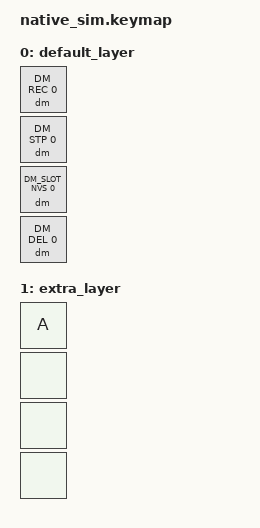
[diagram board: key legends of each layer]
/*
 * Copyright (c) 2026 The ZMK Contributors
 * SPDX-License-Identifier: MIT
 *
 * Test: Record macro, save, then delete it.
 *
 * Sequence:
 * 1. Record A, save to slot 0
 * 2. Play slot 0 (should work)
 * 3. Press DEL to enter delete mode
 * 4. Press slot 0 to delete
 * 5. Play slot 0 again (should be empty)
 *
 * Expected: First playback works, second fails (empty)
 */

#include "../behavior_keymap.dtsi"

/ {
    keymap {
        compatible = "zmk,keymap";
        default_layer {
            bindings = <
                &dm DM_REC 0        /* 0,0 */
                &dm DM_STP 0        /* 0,1 */
                &dm DM_SLOT_NVS 0   /* 1,0 */
                &dm DM_DEL 0        /* 1,1 */
            >;
        };
        extra_layer {
            bindings = <
                &kp A &none
                &none &none
            >;
        };
    };
};

&kscan {
    events = <
        /* Record: use behavior queue to record A via slot command */
        /* Start recording */
        ZMK_MOCK_PRESS(0,0,10)
        ZMK_MOCK_RELEASE(0,0,10)

        /* Stop recording (records empty macro for simplicity) */
        ZMK_MOCK_PRESS(0,1,10)
        ZMK_MOCK_RELEASE(0,1,10)

        /* Assign to slot 0 */
        ZMK_MOCK_PRESS(1,0,10)
        ZMK_MOCK_RELEASE(1,0,10)

        /* Enter delete mode */
        ZMK_MOCK_PRESS(1,1,1000)
        ZMK_MOCK_RELEASE(1,1,10)

        /* Delete slot 0 */
        ZMK_MOCK_PRESS(1,0,10)
        ZMK_MOCK_RELEASE(1,0,10)

        /* Try play slot 0 - should be empty now */
        ZMK_MOCK_PRESS(1,0,2000)
        ZMK_MOCK_RELEASE(1,0,10)
    >;
};
